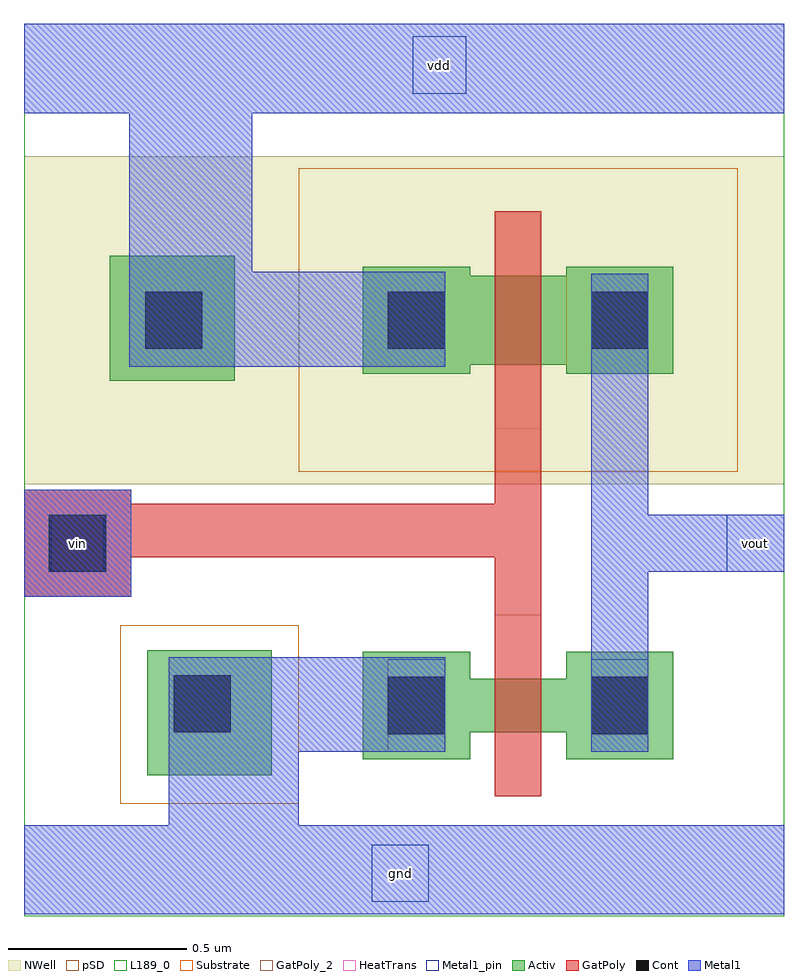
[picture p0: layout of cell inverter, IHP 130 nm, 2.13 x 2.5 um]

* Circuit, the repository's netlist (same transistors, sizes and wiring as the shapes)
** sch_path: /foss/designs/sero/design/schematics/inverter.sch
.subckt inverter vdd gnd vin vout
*.PININFO vdd:B gnd:B vin:I vout:O
MM2 vout vin gnd gnd sg13_lv_nmos w=0.15u l=0.13u ng=1
MM1 vout vin vdd vdd sg13_lv_pmos w=0.25u l=0.13u ng=1
.ends

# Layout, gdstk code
import gdstk
lib = gdstk.Library(unit=1e-6, precision=5e-09)
def R(c, l, rs):  # rectangles x0, y0, x1, y1
    for r in rs: c.add(gdstk.rectangle(r[:2], r[2:], *l))
Activ = (1, 0)
GatPoly = (5, 0)
GatPoly_2 = (5, 2)
Cont = (6, 0)
Metal1 = (8, 0)
Metal1_pin = (8, 2)
pSD = (14, 0)
NWell = (31, 0)
Substrate = (40, 0)
HeatTrans = (51, 0)
L189_0 = (189, 0)

pmos = lib.new_cell('pmos')
R(pmos, Activ, [(0,0,0.3,0.3), (0.57,0,0.87,0.3), (0,0.025,0.87,0.275)])
R(pmos, GatPoly, [(0.37,-0.155,0.5,0.455), (0.37,-0.155,0.5,0.455)])
R(pmos, Cont, [(0.07,0.07,0.23,0.23), (0.64,0.07,0.8,0.23)])
R(pmos, Metal1, [(0.07,0.02,0.23,0.28), (0.07,0.02,0.23,0.28), (0.64,0.02,0.8,0.28), (0.64,0.02,0.8,0.28)])
R(pmos, pSD, [(-0.18,-0.275,1.05,0.575)])
R(pmos, NWell, [(-0.31,-0.31,1.18,0.61)])
R(pmos, Substrate, [(0.57,0,0.87,0.3)])
R(pmos, HeatTrans, [(0.37,-0.155,0.5,0.455)])
pmos.add(gdstk.Label('pmos', (0.435,0.15), layer=63, texttype=0))
pmos.add(gdstk.Label('pmos', (0.435,0.15), layer=51, texttype=0))

nmos = lib.new_cell('nmos')
R(nmos, Activ, [(0,0,0.3,0.3), (0.57,0,0.87,0.3), (0,0.075,0.87,0.225)])
R(nmos, GatPoly, [(0.37,-0.105,0.5,0.405)])
R(nmos, GatPoly_2, [(0.37,-0.105,0.5,0.405)])
R(nmos, Cont, [(0.07,0.07,0.23,0.23), (0.64,0.07,0.8,0.23)])
R(nmos, Metal1, [(0.07,0.02,0.23,0.28), (0.64,0.02,0.8,0.28)])
R(nmos, Metal1_pin, [(0.07,0.02,0.23,0.28), (0.64,0.02,0.8,0.28)])
R(nmos, HeatTrans, [(0.37,-0.105,0.5,0.405)])
nmos.add(gdstk.Label('nmos', (0.435,0.15), layer=63, texttype=0))
nmos.add(gdstk.Label('nmos', (0.435,0.15), layer=51, texttype=0))

via_stack = lib.new_cell('via_stack')
R(via_stack, GatPoly, [(-0.15,-0.15,0.15,0.15)])
R(via_stack, Cont, [(-0.08,-0.08,0.08,0.08)])
R(via_stack, Metal1, [(-0.13,-0.08,0.13,0.08)])

inverter = lib.new_cell('inverter')
R(inverter, Activ, [(0.345,0.395,0.695,0.745), (0.24,1.5,0.59,1.85)])
R(inverter, GatPoly, [(1.32,0.845,1.45,1.365), (0.3,1.005,1.32,1.155)])
R(inverter, Cont, [(0.42,0.515,0.58,0.675), (0.34,1.59,0.5,1.75)])
R(inverter, Metal1, [(0,0.005,2.13,0.255), (0.405,0.255,0.77,0.46), (0.405,0.46,0.595,0.725), (0.405,0.46,1.18,0.725), (1.59,0.72,1.75,1.54), (0,0.895,0.3,1.195), (1.59,0.965,2.13,1.125), (0.295,1.54,1.18,1.805), (0.325,1.54,0.515,1.805), (0.295,1.805,0.64,2.25), (0,2.25,2.13,2.5)])
R(inverter, Metal1_pin, [(0.975,0.04,1.135,0.2), (0.075,0.965,0.225,1.125), (1.97,0.965,2.13,1.125), (1.09,2.305,1.24,2.465)])
R(inverter, pSD, [(0.27,0.315,0.77,0.815)])
R(inverter, NWell, [(0,1.21,0.64,2.13)])
R(inverter, L189_0, [(0,0,2.13,2.5)])
inverter.add(gdstk.Reference(pmos, (0.95,1.52)))
inverter.add(gdstk.Reference(nmos, (0.95,0.44)))
inverter.add(gdstk.Reference(via_stack, (0.15,1.045)))
inverter.add(gdstk.Label('vin', (0.15,1.045), layer=8, texttype=25))
inverter.add(gdstk.Label('vdd', (1.165,2.385), layer=8, texttype=25))
inverter.add(gdstk.Label('gnd', (1.055,0.12), layer=8, texttype=25))
inverter.add(gdstk.Label('vout', (2.05,1.045), layer=8, texttype=25))

lib.write_gds('inverter.gds')
